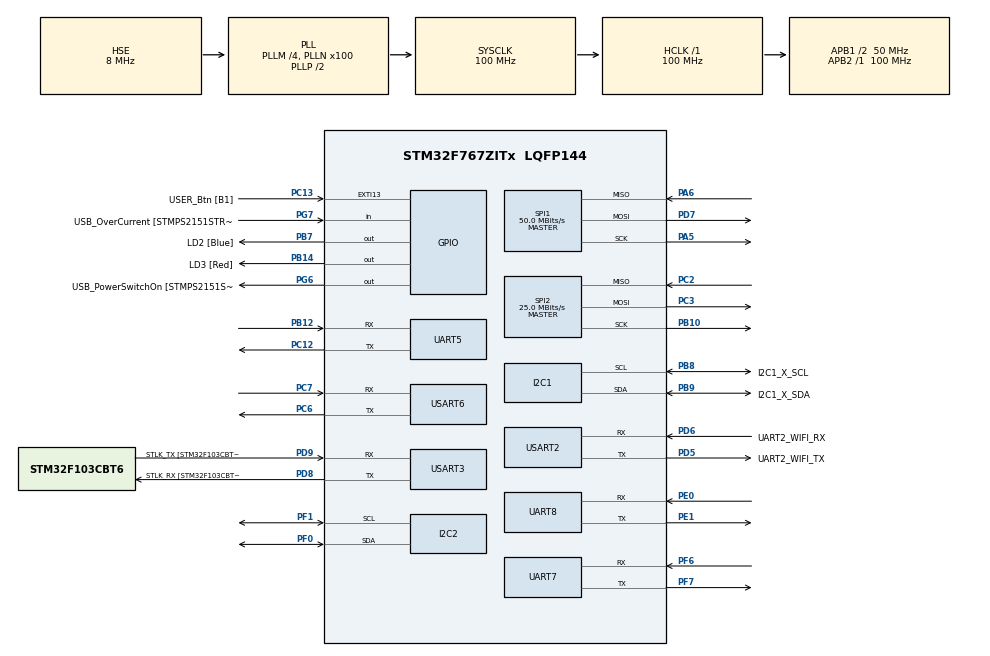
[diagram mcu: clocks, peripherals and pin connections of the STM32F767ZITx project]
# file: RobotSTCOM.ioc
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Dma.Request0=USART3_RX
Dma.Request1=USART3_TX
Dma.Request2=USART2_RX
Dma.Request3=USART2_TX
Dma.USART2_RX.2.Direction=DMA_PERIPH_TO_MEMORY
Dma.USART2_RX.2.FIFOMode=DMA_FIFOMODE_DISABLE
Dma.USART2_RX.2.Instance=DMA1_Stream5
Dma.USART2_RX.2.MemDataAlignment=DMA_MDATAALIGN_BYTE
Dma.USART2_RX.2.MemInc=DMA_MINC_ENABLE
Dma.USART2_RX.2.Mode=DMA_NORMAL
Dma.USART2_RX.2.PeriphDataAlignment=DMA_PDATAALIGN_BYTE
Dma.USART2_RX.2.PeriphInc=DMA_PINC_DISABLE
Dma.USART2_RX.2.Priority=DMA_PRIORITY_LOW
Dma.USART2_TX.3.Direction=DMA_MEMORY_TO_PERIPH
Dma.USART2_TX.3.FIFOMode=DMA_FIFOMODE_DISABLE
Dma.USART2_TX.3.Instance=DMA1_Stream6
Dma.USART2_TX.3.MemDataAlignment=DMA_MDATAALIGN_BYTE
Dma.USART2_TX.3.MemInc=DMA_MINC_ENABLE
Dma.USART2_TX.3.Mode=DMA_NORMAL
Dma.USART2_TX.3.PeriphDataAlignment=DMA_PDATAALIGN_BYTE
Dma.USART2_TX.3.PeriphInc=DMA_PINC_DISABLE
Dma.USART2_TX.3.Priority=DMA_PRIORITY_LOW
Dma.USART3_RX.0.Direction=DMA_PERIPH_TO_MEMORY
Dma.USART3_RX.0.FIFOMode=DMA_FIFOMODE_DISABLE
Dma.USART3_RX.0.Instance=DMA1_Stream1
Dma.USART3_RX.0.MemDataAlignment=DMA_MDATAALIGN_BYTE
Dma.USART3_RX.0.MemInc=DMA_MINC_ENABLE
Dma.USART3_RX.0.Mode=DMA_NORMAL
Dma.USART3_RX.0.PeriphDataAlignment=DMA_PDATAALIGN_BYTE
Dma.USART3_RX.0.PeriphInc=DMA_PINC_DISABLE
Dma.USART3_RX.0.Priority=DMA_PRIORITY_LOW
Dma.USART3_TX.1.Direction=DMA_MEMORY_TO_PERIPH
Dma.USART3_TX.1.FIFOMode=DMA_FIFOMODE_DISABLE
Dma.USART3_TX.1.Instance=DMA1_Stream3
Dma.USART3_TX.1.MemDataAlignment=DMA_MDATAALIGN_BYTE
Dma.USART3_TX.1.MemInc=DMA_MINC_ENABLE
Dma.USART3_TX.1.Mode=DMA_NORMAL
Dma.USART3_TX.1.PeriphDataAlignment=DMA_PDATAALIGN_BYTE
Dma.USART3_TX.1.PeriphInc=DMA_PINC_DISABLE
Dma.USART3_TX.1.Priority=DMA_PRIORITY_LOW
I2C1.Timing=0x00C0EAFF
I2C2.Timing=0x00C0EAFF
Mcu.Family=STM32F7
Mcu.Name=STM32F767ZITx
Mcu.Package=LQFP144
NVIC.DMA1_Stream1_IRQn=true\:0\:0\:false\:false\:true\:false
NVIC.DMA1_Stream3_IRQn=true\:0\:0\:false\:false\:true\:false
NVIC.DMA1_Stream5_IRQn=true\:0\:0\:false\:false\:true\:false
NVIC.DMA1_Stream6_IRQn=true\:0\:0\:false\:false\:true\:false
NVIC.PriorityGroup=NVIC_PRIORITYGROUP_4
NVIC.USART2_IRQn=true\:0\:0\:false\:false\:true\:true
NVIC.USART3_IRQn=true\:0\:0\:false\:false\:true\:true
PA1.GPIO_Label=RMII_REF_CLK [LAN8742A-CZ-TR_REFCLK0]
PA1.Signal=ETH_REF_CLK
PA10.GPIO_Label=USB_ID
PA10.Signal=USB_OTG_FS_ID
PA11.GPIO_Label=USB_DM
PA11.Signal=USB_OTG_FS_DM
PA12.GPIO_Label=USB_DP
PA12.Signal=USB_OTG_FS_DP
PA13.GPIO_Label=TMS
PA13.Mode=Serial_Wire
PA13.Signal=SYS_JTMS-SWDIO
PA14.GPIO_Label=TCK
PA14.Mode=Serial_Wire
PA14.Signal=SYS_JTCK-SWCLK
PA2.GPIO_Label=RMII_MDIO [LAN8742A-CZ-TR_MDIO]
PA2.Signal=ETH_MDIO
PA5.Mode=Full_Duplex_Master
PA5.Signal=SPI1_SCK
PA6.Mode=Full_Duplex_Master
PA6.Signal=SPI1_MISO
PA7.GPIO_Label=RMII_CRS_DV [LAN8742A-CZ-TR_CRS_DV]
PA7.Signal=ETH_CRS_DV
PA8.GPIO_Label=USB_SOF [TP1]
PA8.Signal=USB_OTG_FS_SOF
PA9.GPIO_Label=USB_VBUS
PA9.Signal=USB_OTG_FS_VBUS
PB10.Mode=Full_Duplex_Master
PB10.Signal=SPI2_SCK
PB12.Mode=Asynchronous
PB12.Signal=UART5_RX
PB13.GPIO_Label=RMII_TXD1 [LAN8742A-CZ-TR_TXD1]
PB13.Signal=ETH_TXD1
PB14.GPIO_Label=LD3 [Red]
PB14.Signal=GPIO_Output
PB3.GPIO_Label=SWO
PB3.Signal=SYS_JTDO-SWO
PB7.GPIO_Label=LD2 [Blue]
PB7.Signal=GPIO_Output
PB8.GPIO_Label=I2C1_X_SCL
PB8.Mode=I2C
PB8.Signal=I2C1_SCL
PB9.GPIO_Label=I2C1_X_SDA
PB9.Mode=I2C
PB9.Signal=I2C1_SDA
PC1.GPIO_Label=RMII_MDC [LAN8742A-CZ-TR_MDC]
PC1.Signal=ETH_MDC
PC12.Mode=Asynchronous
PC12.Signal=UART5_TX
PC13.GPIO_Label=USER_Btn [B1]
PC13.Signal=GPXTI13
PC14/OSC32_IN.Mode=LSE-External-Oscillator
PC14/OSC32_IN.Signal=RCC_OSC32_IN
PC15/OSC32_OUT.Mode=LSE-External-Oscillator
PC15/OSC32_OUT.Signal=RCC_OSC32_OUT
PC2.Mode=Full_Duplex_Master
PC2.Signal=SPI2_MISO
PC3.Mode=Full_Duplex_Master
PC3.Signal=SPI2_MOSI
PC4.GPIO_Label=RMII_RXD0 [LAN8742A-CZ-TR_RXD0]
PC4.Signal=ETH_RXD0
PC5.GPIO_Label=RMII_RXD1 [LAN8742A-CZ-TR_RXD1]
PC5.Signal=ETH_RXD1
PC6.Mode=Asynchronous
PC6.Signal=USART6_TX
PC7.Mode=Asynchronous
PC7.Signal=USART6_RX
PD0.Signal=CAN1_RX
PD1.Signal=CAN1_TX
PD5.GPIO_Label=UART2_WIFI_TX
PD5.Mode=Asynchronous
PD5.Signal=USART2_TX
PD6.GPIO_Label=UART2_WIFI_RX
PD6.Mode=Asynchronous
PD6.Signal=USART2_RX
PD7.Mode=Full_Duplex_Master
PD7.Signal=SPI1_MOSI
PD8.GPIO_Label=STLK_RX [STM32F103CBT6_PA3]
PD8.Mode=Asynchronous
PD8.Signal=USART3_TX
PD9.GPIO_Label=STLK_TX [STM32F103CBT6_PA2]
PD9.Mode=Asynchronous
PD9.Signal=USART3_RX
PE0.Mode=Asynchronous
PE0.Signal=UART8_RX
PE1.Mode=Asynchronous
PE1.Signal=UART8_TX
PF0.Mode=I2C
PF0.Signal=I2C2_SDA
PF1.Mode=I2C
PF1.Signal=I2C2_SCL
PF6.Mode=Asynchronous
PF6.Signal=UART7_RX
PF7.Mode=Asynchronous
PF7.Signal=UART7_TX
PG11.GPIO_Label=RMII_TX_EN [LAN8742A-CZ-TR_TXEN]
PG11.Signal=ETH_TX_EN
PG13.GPIO_Label=RMII_TXD0 [LAN8742A-CZ-TR_TXD0]
PG13.Signal=ETH_TXD0
PG6.GPIO_Label=USB_PowerSwitchOn [STMPS2151STR_EN]
PG6.Signal=GPIO_Output
PG7.GPIO_Label=USB_OverCurrent [STMPS2151STR_FAULT]
PG7.Signal=GPIO_Input
PH0/OSC_IN.GPIO_Label=MCO [STM32F103CBT6_PA8]
PH0/OSC_IN.Mode=HSE-External-Clock-Source
PH0/OSC_IN.Signal=RCC_OSC_IN
PH1/OSC_OUT.Mode=HSE-External-Clock-Source
PH1/OSC_OUT.Signal=RCC_OSC_OUT
ProjectManager.HeapSize=0x200
ProjectManager.StackSize=0x400
ProjectManager.TargetToolchain=TrueSTUDIO
RCC.48MHZClocksFreq_Value=24000000
RCC.AHBFreq_Value=100000000
RCC.APB1CLKDivider=RCC_HCLK_DIV2
RCC.APB1Freq_Value=50000000
RCC.APB1TimFreq_Value=100000000
RCC.APB2Freq_Value=100000000
RCC.APB2TimFreq_Value=100000000
RCC.CortexFreq_Value=100000000
RCC.HCLKFreq_Value=100000000
RCC.HSE_VALUE=8000000
RCC.HSI_VALUE=16000000
RCC.PLLM=4
RCC.PLLMUL=RCC_PLL_MUL9
RCC.PLLN=100
RCC.PLLQ=4
RCC.PLLSourceVirtual=RCC_PLLSOURCE_HSE
RCC.PRESCALERUSB=RCC_USBCLKSOURCE_PLL_DIV1_5
RCC.SYSCLKFreq_VALUE=100000000
RCC.SYSCLKSource=RCC_SYSCLKSOURCE_PLLCLK
RCC.SYSCLKSourceVirtual=RCC_SYSCLKSOURCE_PLLCLK
RCC.USBFreq_Value=50000000
RCC.VCOOutputFreq_Value=200000000
SPI1.CalculateBaudRate=50.0 MBits/s
SPI1.Direction=SPI_DIRECTION_2LINES
SPI1.Mode=SPI_MODE_MASTER
SPI1.VirtualType=VM_MASTER
SPI2.CalculateBaudRate=25.0 MBits/s
SPI2.Direction=SPI_DIRECTION_2LINES
SPI2.Mode=SPI_MODE_MASTER
SPI2.VirtualType=VM_MASTER
TIM3.Period=99
TIM3.Prescaler=9999
TIM4.Period=99
TIM4.Prescaler=9999
USART2.VirtualMode-Asynchronous=VM_ASYNC
USART3.VirtualMode-Asynchronous=VM_ASYNC
USART6.VirtualMode-Asynchronous=VM_ASYNC
VP_CRC_VS_CRC.Mode=CRC_Activate
VP_RTC_VS_RTC_Activate.Mode=RTC_Enabled
VP_TIM1_VS_ClockSourceINT.Mode=Internal
VP_TIM2_VS_ClockSourceINT.Mode=Internal
VP_TIM3_VS_ClockSourceINT.Mode=Internal
VP_TIM4_VS_ClockSourceINT.Mode=Internal
board=NUCLEO-F767ZI

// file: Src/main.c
/**
  ******************************************************************************
  * @file           : main.c
  * @brief          : Main program body
  ******************************************************************************
  ** This notice applies to any and all portions of this file
  * that are not between comment pairs USER CODE BEGIN and
  * USER CODE END. Other portions of this file, whether
  * inserted by the user or by software development tools
  * are owned by their respective copyright owners.
  *
  * COPYRIGHT(c) 2018 STMicroelectronics
  *
  * Redistribution and use in source and binary forms, with or without modification,
  * are permitted provided that the following conditions are met:
  *   1. Redistributions of source code must retain the above copyright notice,
  *      this list of conditions and the following disclaimer.
  *   2. Redistributions in binary form must reproduce the above copyright notice,
  *      this list of conditions and the following disclaimer in the documentation
  *      and/or other materials provided with the distribution.
  *   3. Neither the name of STMicroelectronics nor the names of its contributors
  *      may be used to endorse or promote products derived from this software
  *      without specific prior written permission.
  *
  * THIS SOFTWARE IS PROVIDED BY THE COPYRIGHT HOLDERS AND CONTRIBUTORS "AS IS"
  * AND ANY EXPRESS OR IMPLIED WARRANTIES, INCLUDING, BUT NOT LIMITED TO, THE
  * IMPLIED WARRANTIES OF MERCHANTABILITY AND FITNESS FOR A PARTICULAR PURPOSE ARE
  * DISCLAIMED. IN NO EVENT SHALL THE COPYRIGHT HOLDER OR CONTRIBUTORS BE LIABLE
  * FOR ANY DIRECT, INDIRECT, INCIDENTAL, SPECIAL, EXEMPLARY, OR CONSEQUENTIAL
  * DAMAGES (INCLUDING, BUT NOT LIMITED TO, PROCUREMENT OF SUBSTITUTE GOODS OR
  * SERVICES; LOSS OF USE, DATA, OR PROFITS; OR BUSINESS INTERRUPTION) HOWEVER
  * CAUSED AND ON ANY THEORY OF LIABILITY, WHETHER IN CONTRACT, STRICT LIABILITY,
  * OR TORT (INCLUDING NEGLIGENCE OR OTHERWISE) ARISING IN ANY WAY OUT OF THE USE
  * OF THIS SOFTWARE, EVEN IF ADVISED OF THE POSSIBILITY OF SUCH DAMAGE.
  *
  ******************************************************************************
  */
#include "main.h"
#include "stm32f7xx_hal.h"
#include "crc.h"
#include "dma.h"
#include "i2c.h"
#include "rtc.h"
#include "spi.h"
#include "tim.h"
#include "usart.h"
#include "gpio.h"

/* USER CODE BEGIN Includes */

#include "stdio.h"
#include "string.h"
#include "wifi_module.h"
#include "wifi_globals.h"
#include "wifi_interface.h"

/* USER CODE END Includes */

/* USER CODE BEGIN PV */
/* Private variables ---------------------------------------------------------*/

/* USER CODE END PV */

void SystemClock_Config(void);

/* USER CODE BEGIN PFP */
/* Private function prototypes -----------------------------------------------*/

void USART_PRINT_MSG_Configuration(UART_HandleTypeDef *UART_MsgHandle,
		uint32_t baud_rate);

/* USER CODE END PFP */

/* USER CODE BEGIN 0 */

wifi_state_t wifi_state;
wifi_config config;
UART_HandleTypeDef UART_MsgHandle;

/* USER CODE END 0 */

int main(void)
{
  /* USER CODE BEGIN 1 */

	setvbuf(stdin, NULL, _IONBF, 0);
	setvbuf(stdout, NULL, _IONBF, 0);
	setvbuf(stderr, NULL, _IONBF, 0);

  /* USER CODE END 1 */

  /* MCU Configuration----------------------------------------------------------*/

  /* Reset of all peripherals, Initializes the Flash interface and the Systick. */
  HAL_Init();

  /* Configure the system clock */
  SystemClock_Config();

  /* Initialize all configured peripherals */
  MX_GPIO_Init();
  MX_DMA_Init();
  MX_USART3_UART_Init();
  MX_CRC_Init();
  MX_I2C1_Init();
  MX_I2C2_Init();
  MX_RTC_Init();
  MX_SPI1_Init();
  MX_SPI2_Init();
  MX_TIM1_Init();
  MX_TIM2_Init();
  MX_TIM3_Init();
  MX_TIM4_Init();
  MX_UART5_Init();
  MX_UART7_Init();
  MX_UART8_Init();
  MX_USART2_UART_Init();
  MX_USART6_UART_Init();
  /* USER CODE BEGIN 2 */

	HAL_StatusTypeDef autodetect = HAL_OK;

	char AT_Str[400];
	char Value_Str[400];
	char AT_Rpl[400];

#ifdef USART_PRINT_MSG
	// UART_Msg_Gpio_Init();
#if defined (USE_STM32L0XX_NUCLEO)
	USART_PRINT_MSG_Configuration(&UART_MsgHandle, 115200); //L0 max rate?
#else
	USART_PRINT_MSG_Configuration(&huart3, 115200);
#endif
	Set_UartMsgHandle(&huart3); //this is required for the console handler initialization
#endif

	printf("\r\n\n/********************************************************\n");
	printf("\r *                                                      *\n");
	printf("\r * X-CUBE-WIFI1 Expansion Software v3.1.1               *\n");
	printf("\r * Console Application                                  *\n");
	printf("\r * Send AT commands to SPWF module directly             *\n");
	printf("\r *                                                      *\n");
	printf("\r *******************************************************/\n\r\n");

	printf("\rPlease wait...\r\n");

#if defined (USE_STM32L0XX_NUCLEO)
	autodetect = WiFi_Module_UART_Configuration(115200); //115200 //460800 //921600
#else
	// autodetect = WiFi_Module_UART_Configuration(115200); //115200 //460800 //921600
#endif

	// WiFi_Module_UART_Configuration(115200); //115200 //460800 //921600
	USART2->CR3 |= 0x00000040;

	autodetect = HAL_OK;

	if (autodetect == HAL_OK)
		;
		// UART_DMA_Init();
	else {
		printf("\rError in baud-rate auto-detection...\r\n");
	}
	HAL_Delay(2000);
	printf("\rConsole Ready...\r\n");

	//	AT commands to program Wifi module
	//	AT+S.SCFG=blink_led,0
	//	AT+S.SSIDTXT=<RobotSSID>
	//	AT+S.SCFG=wifi_auth_type,0
	//	AT+S.SCFG=wifi_priv_mode,2
	//	AT+S.SCFG=wifi_wpa_psk_text,<secretkey>
	//	AT+S.SCFG=ip_hostname,<hostname>
	//	AT+S.SCFG=ip_apdomainname,<robot.net>
	//	AT+S.SCFG=ip_apredirect,index.html
	//	AT+S.WCFG
	//
	//	## Will erase data, DO NOT USE IF NOT INTENDED
	//	## AT+S.FSUPDATE=i,192.168.0.51,\fs.img,,,,
	//
	//	## Write data to robot.fhtml table
	//	AT+S.INPUTSSI=<strlen><CR>
	//	|10|20|30.3|40|55|<CR>

  /* USER CODE END 2 */

  /* Infinite loop */
  while (1)
  {

		 memset(AT_Str, '\0', 400);
		 memset(Value_Str, '\0', 400);

		uint8_t len_value,len_at;
		 len_value = sprintf(Value_Str,"|10|20|30.3|40|55|68|78|811|99|100|10|20|30.3|40|55|68|Status GOOD|\r");
		 len_at = sprintf(AT_Str,"AT+S.INPUTSSI=%d\r",len_value);
		 HAL_UART_Transmit_DMA(&huart2, (uint8_t *) AT_Str, len_at);
		 HAL_Delay(5000);
		 HAL_UART_Transmit_DMA(&huart2, (uint8_t *) Value_Str, len_value);

		HAL_Delay(5000);

		memset(AT_Str, '\0', 400);
		memset(Value_Str, '\0', 400);

		len_value = sprintf(Value_Str,"|10|20|30.3|40|55|68|78|811|99|100|10|20|30.3|40|55|68|Status BAD|\r");
		len_at = sprintf(AT_Str,"AT+S.INPUTSSI=%d\r",len_value);
		HAL_UART_Transmit_DMA(&huart2, (uint8_t *) AT_Str, len_at);
		HAL_Delay(5000);
		HAL_UART_Transmit_DMA(&huart2, (uint8_t *) Value_Str, len_value);

		HAL_Delay(5000);

  }

}

void SystemClock_Config(void)
{

  RCC_OscInitTypeDef RCC_OscInitStruct;
  RCC_ClkInitTypeDef RCC_ClkInitStruct;
  RCC_PeriphCLKInitTypeDef PeriphClkInitStruct;

    /**Configure the main internal regulator output voltage
    */
  __HAL_RCC_PWR_CLK_ENABLE();

  __HAL_PWR_VOLTAGESCALING_CONFIG(PWR_REGULATOR_VOLTAGE_SCALE3);

    /**Initializes the CPU, AHB and APB busses clocks
    */
  RCC_OscInitStruct.OscillatorType = RCC_OSCILLATORTYPE_LSI|RCC_OSCILLATORTYPE_HSE;
  RCC_OscInitStruct.HSEState = RCC_HSE_BYPASS;
  RCC_OscInitStruct.LSIState = RCC_LSI_ON;
  RCC_OscInitStruct.PLL.PLLState = RCC_PLL_ON;
  RCC_OscInitStruct.PLL.PLLSource = RCC_PLLSOURCE_HSE;
  RCC_OscInitStruct.PLL.PLLM = 4;
  RCC_OscInitStruct.PLL.PLLN = 100;
  RCC_OscInitStruct.PLL.PLLP = RCC_PLLP_DIV2;
  RCC_OscInitStruct.PLL.PLLQ = 4;
  if (HAL_RCC_OscConfig(&RCC_OscInitStruct) != HAL_OK)
  {
    _Error_Handler(__FILE__, __LINE__);
  }

    /**Activate the Over-Drive mode
    */
  if (HAL_PWREx_EnableOverDrive() != HAL_OK)
  {
    _Error_Handler(__FILE__, __LINE__);
  }

    /**Initializes the CPU, AHB and APB busses clocks
    */
  RCC_ClkInitStruct.ClockType = RCC_CLOCKTYPE_HCLK|RCC_CLOCKTYPE_SYSCLK
                              |RCC_CLOCKTYPE_PCLK1|RCC_CLOCKTYPE_PCLK2;
  RCC_ClkInitStruct.SYSCLKSource = RCC_SYSCLKSOURCE_PLLCLK;
  RCC_ClkInitStruct.AHBCLKDivider = RCC_SYSCLK_DIV1;
  RCC_ClkInitStruct.APB1CLKDivider = RCC_HCLK_DIV2;
  RCC_ClkInitStruct.APB2CLKDivider = RCC_HCLK_DIV1;

  if (HAL_RCC_ClockConfig(&RCC_ClkInitStruct, FLASH_LATENCY_3) != HAL_OK)
  {
    _Error_Handler(__FILE__, __LINE__);
  }

  PeriphClkInitStruct.PeriphClockSelection = RCC_PERIPHCLK_RTC|RCC_PERIPHCLK_USART2
                              |RCC_PERIPHCLK_USART3|RCC_PERIPHCLK_USART6
                              |RCC_PERIPHCLK_UART5|RCC_PERIPHCLK_UART7
                              |RCC_PERIPHCLK_UART8|RCC_PERIPHCLK_I2C1
                              |RCC_PERIPHCLK_I2C2;
  PeriphClkInitStruct.RTCClockSelection = RCC_RTCCLKSOURCE_LSI;
  PeriphClkInitStruct.Usart2ClockSelection = RCC_USART2CLKSOURCE_PCLK1;
  PeriphClkInitStruct.Usart3ClockSelection = RCC_USART3CLKSOURCE_PCLK1;
  PeriphClkInitStruct.Uart5ClockSelection = RCC_UART5CLKSOURCE_PCLK1;
  PeriphClkInitStruct.Usart6ClockSelection = RCC_USART6CLKSOURCE_PCLK2;
  PeriphClkInitStruct.Uart7ClockSelection = RCC_UART7CLKSOURCE_PCLK1;
  PeriphClkInitStruct.Uart8ClockSelection = RCC_UART8CLKSOURCE_PCLK1;
  PeriphClkInitStruct.I2c1ClockSelection = RCC_I2C1CLKSOURCE_PCLK1;
  PeriphClkInitStruct.I2c2ClockSelection = RCC_I2C2CLKSOURCE_PCLK1;
  if (HAL_RCCEx_PeriphCLKConfig(&PeriphClkInitStruct) != HAL_OK)
  {
    _Error_Handler(__FILE__, __LINE__);
  }

    /**Configure the Systick interrupt time
    */
  HAL_SYSTICK_Config(HAL_RCC_GetHCLKFreq()/1000);

    /**Configure the Systick
    */
  HAL_SYSTICK_CLKSourceConfig(SYSTICK_CLKSOURCE_HCLK);

  /* SysTick_IRQn interrupt configuration */
  HAL_NVIC_SetPriority(SysTick_IRQn, 0, 0);
}

/* USER CODE BEGIN 4 */

#ifdef USART_PRINT_MSG
void USART_PRINT_MSG_Configuration(UART_HandleTypeDef *UART_MsgHandle,
		uint32_t baud_rate) {
	UART_MsgHandle->Instance = WIFI_UART_MSG;
	UART_MsgHandle->Init.BaudRate = baud_rate;
	UART_MsgHandle->Init.WordLength = UART_WORDLENGTH_8B;
	UART_MsgHandle->Init.StopBits = UART_STOPBITS_1;
	UART_MsgHandle->Init.Parity = UART_PARITY_NONE;
	UART_MsgHandle->Init.HwFlowCtl = UART_HWCONTROL_NONE; // USART_HardwareFlowControl_RTS_CTS;
	UART_MsgHandle->Init.Mode = UART_MODE_TX_RX;

	if (HAL_UART_DeInit(UART_MsgHandle) != HAL_OK) {
		Error_Handler();
	}
	if (HAL_UART_Init(UART_MsgHandle) != HAL_OK) {
		Error_Handler();
	}
#ifdef WIFI_USE_VCOM
	/*## -1- Enable USART2 DMAT & DMAR #################################################*/
	UART_MsgHandle->Instance->CR3 |= 0x00000040;
#endif //WIFI_USE_VCOM
}
#endif

/* USER CODE END 4 */

void _Error_Handler(char *file, int line)
{
  while(1)
  {
  }
}

/************************ (C) COPYRIGHT STMicroelectronics *****END OF FILE****/
